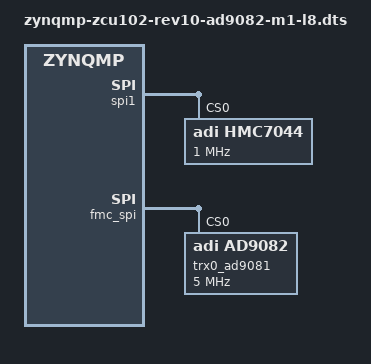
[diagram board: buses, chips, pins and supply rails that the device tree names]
// SPDX-License-Identifier: GPL-2.0
/*
 * Analog Devices AD9082-FMC-EBZ
 * https://wiki.analog.com/resources/eval/user-guides/quadmxfe/quick-start
 * https://wiki.analog.com/resources/tools-software/linux-drivers/iio-mxfe/ad9081
 *
 * hdl_project: <ad9082_fmca_ebz/zcu102>
 * board_revision: <>
 *
 * Copyright (C) 2024 Analog Devices Inc.
 */

#include "zynqmp-zcu102-rev10-ad9081-default.dtsi"
#include <dt-bindings/iio/frequency/hmc7044.h>
#include <dt-bindings/iio/adc/adi,ad9081.h>

// ad9082_204b_txmode_20_rxmode_19: 204C use case with Subclass 1,
//     * 1Txs / 1Rxs per MxFE
//     * DAC_CLK = 5.76GSPS
//     * ADC_CLK = 5.76GSPS
//     * Tx I/Q Rate: 5760 MSPS (Interpolation of 1x1)
//     * Rx I/Q Rate: 5760 MSPS (Decimation of 1x1)
//     * DAC JESD204B: Mode 20, L=8, M=1, N=N'=16
//     * ADC JESD204B: Mode 19, L=8, M=1, N=N'=16
//     * DAC-Side JESD204B Lane Rate: 11.88Gbps
//     * ADC-Side JESD204B Lane Rate: 11.88Gbps

// HDL Synthesis Parameters used for this mode
// make JESD_MODE=64B66B RX_LANE_RATE=11.88 RX_JESD_M=1 RX_JESD_L=8 RX_JESD_S=4 RX_JESD_NP=16 TX_JESD_M=1 TX_JESD_L=8 TX_JESD_S=4 TX_JESD_NP=16 TX_LANE_RATE=11.88

&axi_ad9081_adxcvr_rx {
	/* Switch to QPLL */
	adi,sys-clk-select = <XCVR_QPLL>;
	adi,out-clk-select = <XCVR_REFCLK_DIV2>;

};

&axi_ad9081_core_tx {
	adi,axi-pl-fifo-enable;
};

&spi1 {
	status = "okay";

	hmc7044: hmc7044@0 {
		#address-cells = <1>;
		#size-cells = <0>;
		#clock-cells = <1>;
		compatible = "adi,hmc7044";
		reg = <0>;
		spi-max-frequency = <1000000>;

		jesd204-device;
		#jesd204-cells = <2>;
		jesd204-sysref-provider;

		adi,jesd204-max-sysref-frequency-hz = <2000000>; /* 2 MHz */

		/*
		* There are different versions of the AD9081-FMCA-EBZ & AD9082-FMCA-EBZ
		* VCXO = 122.880 MHz, XO = 122.880MHz (AD9081-FMC-EBZ & AD9082-FMC-EBZ)
		* VCXO = 100.000 MHz, XO = 100.000MHz (AD9081-FMC-EBZ-A2 & AD9082-FMC-EBZ-A2)
		* To determine which board is which, read the freqency printed on the VCXO
		* or use the fru-dump utility:
		* #fru-dump -b /sys/bus/i2c/devices/15-0050/eeprom
		*/

		//adi,pll1-clkin-frequencies = <122880000 30720000 0 0>;
		//adi,vcxo-frequency = <122880000>;

		adi,pll1-clkin-frequencies = <100000000 10000000 0 0>;
		adi,pll1-ref-prio-ctrl = <0xE1>; /* prefer CLKIN1 -> CLKIN0 -> CLKIN2 -> CLKIN3 */
		adi,pll1-ref-autorevert-enable;

		adi,vcxo-frequency = <100000000>;

		adi,pll1-loop-bandwidth-hz = <200>;
		adi,pll1-charge-pump-current-ua = <720>;
		adi,pfd1-maximum-limit-frequency-hz = <1000000>; /* 1 MHz */

		adi,pll2-output-frequency = <2880000000>;

		adi,sysref-timer-divider = <1024>;
		adi,pulse-generator-mode = <0>;

		adi,clkin0-buffer-mode  = <0x07>;
		adi,clkin1-buffer-mode  = <0x07>;
		adi,oscin-buffer-mode = <0x15>;

		adi,gpi-controls = <0x00 0x00 0x00 0x00>;
		adi,gpo-controls = <0x37 0x33 0x00 0x00>;

		clock-output-names =
		"hmc7044_out0", "hmc7044_out1", "hmc7044_out2",
		"hmc7044_out3", "hmc7044_out4", "hmc7044_out5",
		"hmc7044_out6", "hmc7044_out7", "hmc7044_out8",
		"hmc7044_out9", "hmc7044_out10", "hmc7044_out11",
		"hmc7044_out12", "hmc7044_out13";

		hmc7044_c0: channel@0 {
			reg = <0>;
			adi,extended-name = "CORE_CLK_RX";
			adi,divider = <16>;
			adi,driver-mode = <HMC7044_DRIVER_MODE_LVDS>;

		};
		hmc7044_c2: channel@2 {
			reg = <2>;
			adi,extended-name = "DEV_REFCLK";
			adi,divider = <4>;
			adi,driver-mode = <HMC7044_DRIVER_MODE_LVDS>;
		};
		hmc7044_c3: channel@3 {
			reg = <3>;
			adi,extended-name = "DEV_SYSREF";
			adi,divider = <1536>;
			adi,driver-mode = <HMC7044_DRIVER_MODE_LVDS>;
			adi,jesd204-sysref-chan;
		};

		hmc7044_c6: channel@6 {
			reg = <6>;
			adi,extended-name = "CORE_CLK_TX";
			adi,divider = <16>;
			adi,driver-mode = <HMC7044_DRIVER_MODE_LVDS>;
		};

		hmc7044_c8: channel@8 {
			reg = <8>;
			adi,extended-name = "FPGA_REFCLK1";
			adi,divider = <4>;
			adi,driver-mode = <HMC7044_DRIVER_MODE_LVDS>;
		};
		hmc7044_c10: channel@10 {
			reg = <10>;
			adi,extended-name = "CORE_CLK_RX_ALT";
			adi,divider = <16>;
			adi,driver-mode = <HMC7044_DRIVER_MODE_LVDS>;
		};

		hmc7044_c12: channel@12 {
			reg = <12>;
			adi,extended-name = "FPGA_REFCLK2";
			adi,divider = <4>;
			adi,driver-mode = <HMC7044_DRIVER_MODE_LVDS>;
		};
		hmc7044_c13: channel@13 {
			reg = <13>;
			adi,extended-name = "FPGA_SYSREF";
			adi,divider = <1536>;
			adi,driver-mode = <HMC7044_DRIVER_MODE_LVDS>;
			adi,jesd204-sysref-chan;
		};
	};
};

&fmc_spi {

	trx0_ad9081: ad9081@0 {
		#address-cells = <1>;
		#size-cells = <0>;
		compatible = "adi,ad9082";
		reg = <0>;
		spi-max-frequency = <5000000>;

		/* Clocks */
		clocks = <&hmc7044 2>;
		clock-names = "dev_clk";

		clock-output-names = "rx_sampl_clk", "tx_sampl_clk";
		#clock-cells = <1>;

		jesd204-device;
		#jesd204-cells = <2>;
		jesd204-top-device = <0>; /* This is the TOP device */
		jesd204-link-ids = <FRAMER_LINK0_RX DEFRAMER_LINK0_TX>;

		jesd204-inputs =
			<&axi_ad9081_core_rx 0 FRAMER_LINK0_RX>,
			<&axi_ad9081_core_tx 0 DEFRAMER_LINK0_TX>;

		adi,tx-dacs {
			#size-cells = <0>;
			#address-cells = <1>;

			adi,dac-frequency-hz = /bits/ 64 <5760000000>;

			adi,main-data-paths {
				#address-cells = <1>;
				#size-cells = <0>;

				adi,interpolation = <1>;

				ad9081_dac0: dac@0 {
					reg = <0>;
					adi,crossbar-select = <&ad9081_tx_fddc_chan0>;
					adi,nco-frequency-shift-hz = /bits/ 64 <0>; /* 1000 MHz */
				};
			};

			adi,channelizer-paths {
				#address-cells = <1>;
				#size-cells = <0>;
				adi,interpolation = <1>;

				ad9081_tx_fddc_chan0: channel@0 {
					reg = <0>;
					adi,gain = <2048>; /* 2048 * 10^(gain_dB/20) */
					adi,nco-frequency-shift-hz =  /bits/ 64 <0>;

				};
			};

			adi,jesd-links {
				#size-cells = <0>;
				#address-cells = <1>;

				ad9081_tx_jesd_l0: link@0 {
					#address-cells = <1>;
					#size-cells = <0>;
					reg = <0>;
					adi,logical-lane-mapping = /bits/ 8 <0 2 7 6 1 5 4 3>;

					adi,link-mode = <20>;			/* JESD Quick Configuration Mode */
					adi,subclass = <1>;			/* JESD SUBCLASS 0,1,2 */
					adi,version = <2>;			/* JESD VERSION 0=204A,1=204B,2=204C */
					adi,dual-link = <0>;			/* JESD Dual Link Mode */

					adi,converters-per-device = <1>;	/* JESD M */
					adi,octets-per-frame = <1>;		/* JESD F */

					adi,frames-per-multiframe = <256>;	/* JESD K */
					adi,converter-resolution = <16>;	/* JESD N */
					adi,bits-per-sample = <16>;		/* JESD NP' */
					adi,control-bits-per-sample = <0>;	/* JESD CS */
					adi,lanes-per-device = <8>;		/* JESD L */
					adi,samples-per-converter-per-frame = <4>; /* JESD S */
					adi,high-density = <1>;			/* JESD HD */

					adi,tpl-phase-adjust = <6>;
				};
			};
		};

		adi,rx-adcs {
			#size-cells = <0>;
			#address-cells = <1>;

			adi,adc-frequency-hz = /bits/ 64 <5760000000>;

			adi,main-data-paths {
				#address-cells = <1>;
				#size-cells = <0>;

				ad9081_adc0: adc@0 {
					reg = <0>;
					adi,decimation = <1>;
					adi,nco-frequency-shift-hz =  /bits/ 64 <0>;
					adi,nco-mixer-mode = <AD9081_ADC_NCO_ZIF>;
					//adi,crossbar-select = <&ad9081_rx_fddc_chan0>, <&ad9081_rx_fddc_chan2>; /* Static for now */
				};

			};

			adi,channelizer-paths {
				#address-cells = <1>;
				#size-cells = <0>;


				ad9081_rx_fddc_chan0: channel@0 {
					reg = <0>;
					adi,decimation = <1>;
					adi,gain = <2048>; /* 2048 * 10^(gain_dB/20) */
					adi,nco-frequency-shift-hz =  /bits/ 64 <0>;

				};

			};

			adi,jesd-links {
				#size-cells = <0>;
				#address-cells = <1>;

				ad9081_rx_jesd_l0: link@0 {
					reg = <0>;
					adi,converter-select = <&ad9081_rx_fddc_chan0 FDDC_I>;

					adi,logical-lane-mapping = /bits/ 8 <2 0 7 6 5 4 3 1>;

					adi,link-mode = <19>;			/* JESD Quick Configuration Mode */
					adi,subclass = <1>;			/* JESD SUBCLASS 0,1,2 */
					adi,version = <2>;			/* JESD VERSION 0=204A,1=204B,2=204C */
					adi,dual-link = <0>;			/* JESD Dual Link Mode */

					adi,converters-per-device = <1>;	/* JESD M */
					adi,octets-per-frame = <1>;		/* JESD F */

					adi,frames-per-multiframe = <256>;	/* JESD K */
					adi,converter-resolution = <16>;	/* JESD N */
					adi,bits-per-sample = <16>;		/* JESD NP' */
					adi,control-bits-per-sample = <0>;	/* JESD CS */
					adi,lanes-per-device = <8>;		/* JESD L */
					adi,samples-per-converter-per-frame = <4>; /* JESD S */
					adi,high-density = <1>;			/* JESD HD */
				};
			};
		};
	};
};
